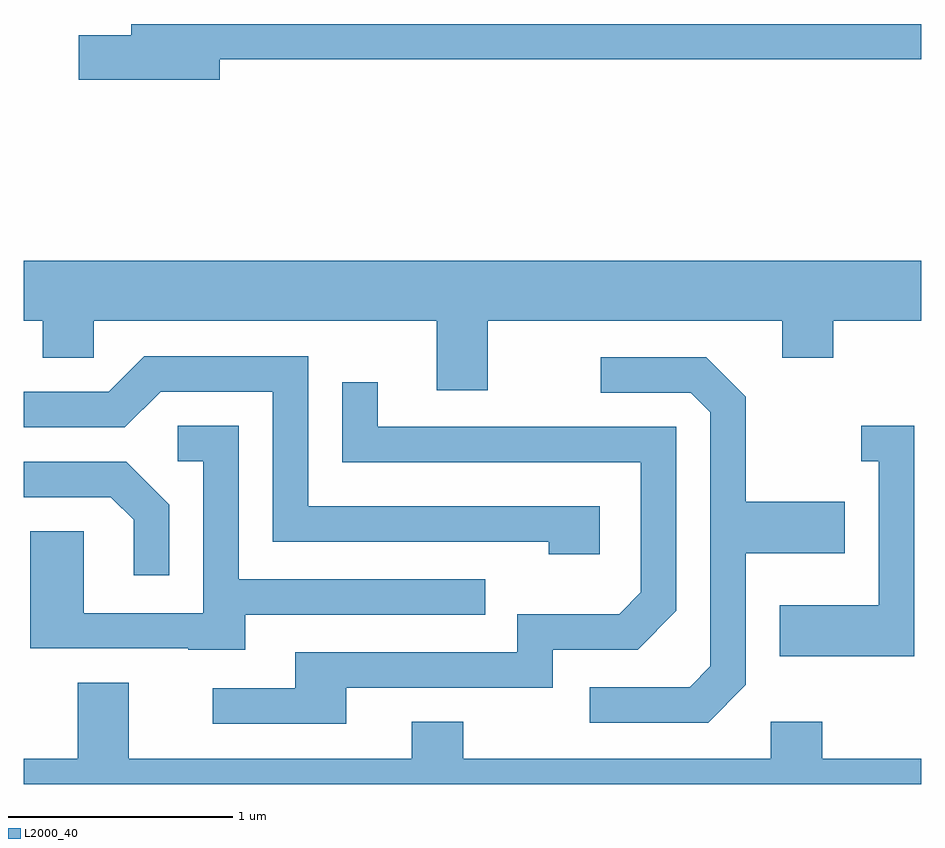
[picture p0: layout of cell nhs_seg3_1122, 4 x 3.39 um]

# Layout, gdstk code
import gdstk
lib = gdstk.Library(unit=1e-6, precision=1e-09)
def P(c, l, *ps):  # polygons
    for p in ps: c.add(gdstk.Polygon(p, *l))
L2000_40 = (2000, 40)

nhs_seg3_1122 = lib.new_cell('nhs_seg3_1122')
P(nhs_seg3_1122, L2000_40, [(218.484,1187.121),(221.611,1187.121),(221.611,1187.279),(218.091,1187.279),(218.091,1187.229),(217.856,1187.229),(217.856,1187.031),(218.484,1187.031)],
  [(219.679,1185.956),(220.991,1185.956),(220.991,1185.791),(221.219,1185.791),(221.219,1185.956),(221.611,1185.956),(221.611,1186.224),(217.611,1186.224),(217.611,1185.956),(217.696,1185.956),(217.696,1185.791),(217.924,1185.791),(217.924,1185.956),(219.451,1185.956),(219.451,1185.646),(219.679,1185.646)],
  [(220.179,1185.129),(218.879,1185.129),(218.879,1185.799),(218.149,1185.799),(217.989,1185.639),(217.611,1185.639),(217.611,1185.481),(218.062,1185.481),(218.222,1185.641),(218.721,1185.641),(218.721,1184.971),(219.951,1184.971),(219.951,1184.916),(220.179,1184.916)],
  [(220.829,1184.334),(220.829,1184.921),(221.269,1184.921),(221.269,1185.149),(220.829,1185.149),(220.829,1185.617),(220.652,1185.794),(220.183,1185.794),(220.183,1185.636),(220.584,1185.636),(220.671,1185.549),(220.671,1184.417),(220.579,1184.324),(220.133,1184.324),(220.133,1184.166),(220.662,1184.166)],
  [(219.049,1184.321),(219.969,1184.321),(219.969,1184.491),(220.347,1184.491),(220.519,1184.664),(220.519,1185.484),(219.189,1185.484),(219.189,1185.683),(219.031,1185.683),(219.031,1185.326),(220.361,1185.326),(220.361,1184.747),(220.264,1184.649),(219.811,1184.649),(219.811,1184.479),(218.821,1184.479),(218.821,1184.319),(218.453,1184.319),(218.453,1184.161),(219.049,1184.161)],
  [(221.579,1185.489),(221.343,1185.489),(221.343,1185.331),(221.421,1185.331),(221.421,1184.689),(220.981,1184.689),(220.981,1184.461),(221.579,1184.461)],
  [(218.599,1184.646),(219.668,1184.646),(219.668,1184.804),(218.569,1184.804),(218.569,1185.489),(218.298,1185.489),(218.298,1185.331),(218.411,1185.331),(218.411,1184.654),(217.879,1184.654),(217.879,1185.019),(217.641,1185.019),(217.641,1184.496),(218.345,1184.496),(218.345,1184.491),(218.599,1184.491)],
  [(218.259,1185.137),(218.067,1185.329),(217.611,1185.329),(217.611,1185.171),(217.999,1185.171),(218.101,1185.069),(218.101,1184.823),(218.259,1184.823)],
  [(221.611,1184.004),(221.169,1184.004),(221.169,1184.169),(220.941,1184.169),(220.941,1184.004),(219.569,1184.004),(219.569,1184.169),(219.341,1184.169),(219.341,1184.004),(218.079,1184.004),(218.079,1184.344),(217.851,1184.344),(217.851,1184.004),(217.611,1184.004),(217.611,1183.892),(221.611,1183.892)])

lib.write_gds('nhs_seg3_1122.gds')
